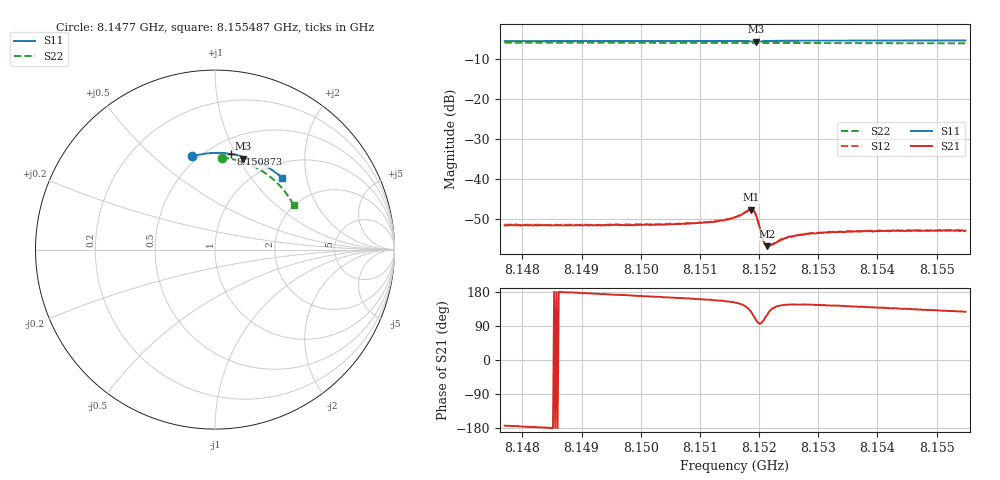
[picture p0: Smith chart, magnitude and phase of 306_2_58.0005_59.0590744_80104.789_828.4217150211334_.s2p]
#  HZ  S  RI  R  50.00
! Rohde & Schwarz Vector Network Analyzer
! Rohde-Schwarz,ZNB20-2Port,1311601062101988,3.16
! Created: UTC 3/21/2024, 1:04:00 AM
! freq[Hz]  re:S11  im:S11  re:S21  im:S21  re:S12  im:S12  re:S22  im:S22
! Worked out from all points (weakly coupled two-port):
!   401 points, 8.1477 GHz to 8.155487 GHz, reference 50 ohm
!   highest |S21| = -47.72 dB at 8.151866 GHz (marker M1); lowest = -56.8 dB at 8.152139 GHz (marker M2)
!   lowest |S11| = -5.5 dB at 8.151944 GHz (marker M3), VSWR 3.25, Z = 37.2 + j52.4 ohm
!   |S11| at or under -10 dB: nowhere
!   |S22| runs from -6.0 to -5.8 dB; largest |S21 - S12| = 0.00012
!   S11 on the Smith chart (normalised r, x): 8.1477 GHz: 0.46, +0.67; 8.150873 GHz: 0.64, +0.96; 8.155487 GHz: 1.26, +1.45
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8.1477e9  -0.13 0.5194  -0.0026 -0.000308  -0.00267 -0.000298  0.0389 0.5129
8.1490043e9  -0.0404 0.5362  -0.00261 0.000168  -0.00266 0.000225  0.1229 0.4981
8.1503086e9  0.0503 0.5375  -0.0026 0.000609  -0.00263 0.000698  0.2025 0.4698
8.1508732e9  0.0897 0.5332  -0.00264 0.000871  -0.00263 0.000933  0.2352 0.4536
8.1512625e9  0.117 0.5284  -0.00269 0.0011  -0.00275 0.0012  0.2567 0.4408
8.1514183e9  0.128 0.5258  -0.00277 0.00127  -0.00277 0.00132  0.2653 0.4355
8.1515935e9  0.1409 0.522  -0.0029 0.00157  -0.00289 0.00167  0.2747 0.4293
8.1518076e9  0.1563 0.5135  -0.00291 0.00269  -0.0029 0.00278  0.2859 0.4214
8.151866e9  0.1588 0.5093  -0.00248 0.00328  -0.00245 0.00335  0.2889 0.4191
8.151905e9  0.1587 0.5067  -0.00184 0.00358  -0.00178 0.0036  0.2907 0.4177
8.1519439e9  0.1573 0.5058  -0.00101 0.00345  -0.000973 0.00349  0.2927 0.4162
8.1519828e9  0.1567 0.5071  -0.000429 0.0029  -0.000403 0.00292  0.2944 0.4149
8.1520607e9  0.1602 0.511  -0.000384 0.00176  -0.000328 0.00179  0.2985 0.4122
8.1520996e9  0.1635 0.512  -0.000534 0.00142  -0.00054 0.00143  0.3006 0.4107
8.1521386e9  0.1669 0.5124  -0.000697 0.00126  -0.000728 0.00128  0.3025 0.4091
8.152197e9  0.1717 0.5121  -0.000993 0.00112  -0.000999 0.00113  0.3056 0.407
8.1523332e9  0.1822 0.5102  -0.00132 0.00101  -0.00132 0.00103  0.3124 0.4016
8.152489e9  0.1935 0.5069  -0.00154 0.00104  -0.00156 0.00107  0.3202 0.3951
8.1528978e9  0.2209 0.4968  -0.00172 0.00116  -0.00174 0.00117  0.3396 0.3778
8.1535792e9  0.2641 0.4765  -0.0017 0.00138  -0.00173 0.0014  0.3698 0.3468
8.1542021e9  0.3014 0.455  -0.00161 0.00152  -0.00163 0.00157  0.3948 0.3163
8.155487e9  0.3719 0.4016  -0.00135 0.00178  -0.00137 0.00178  0.4384 0.2484
